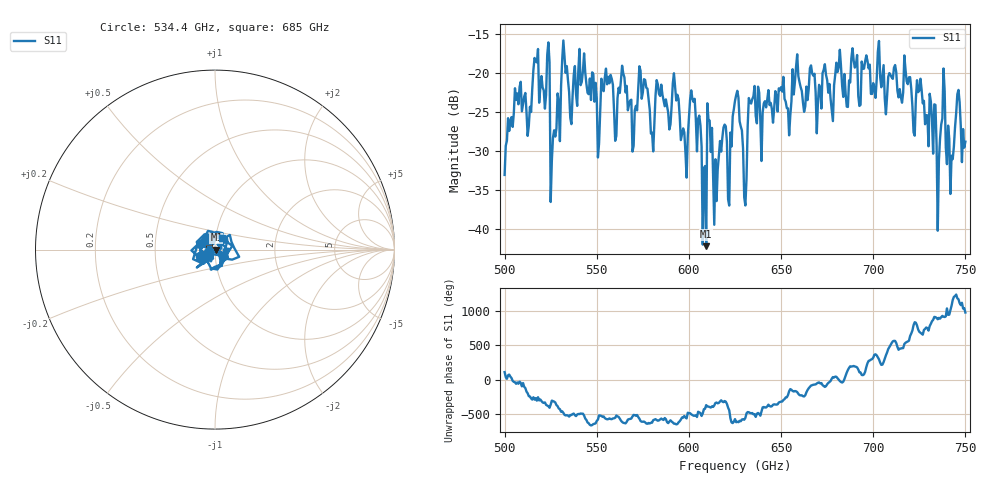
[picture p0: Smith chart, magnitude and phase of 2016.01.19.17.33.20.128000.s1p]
!Created with skrf (http://scikit-rf.org).
# GHz S RI R 50.0
!freq ReS11 ImS11
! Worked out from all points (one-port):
!   401 points, 500 GHz to 750 GHz, reference 50 ohm
!   lowest |S11| = -42.1 dB at 609.4 GHz (marker M1), VSWR 1.02, Z = 50.8 - j0.0827 ohm
!   |S11| at or under -10 dB: start of sweep to end of sweep
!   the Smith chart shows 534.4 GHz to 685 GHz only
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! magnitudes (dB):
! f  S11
! 500 GHz  -33.0
! 516.9 GHz  -18.5
! 523.1 GHz  -17.7
! 526.2 GHz  -28.3
! 531.2 GHz  -18.3
! 550.6 GHz  -30.8
! 562.5 GHz  -22.6
! 580 GHz  -27.6
! 593.8 GHz  -22.8
! 598.1 GHz  -30.2
! 602.5 GHz  -23.7
! 608.1 GHz  -32.2
! 609.4 GHz  -42.1
! 611.2 GHz  -26.1
! 614.4 GHz  -31.0
! 619.4 GHz  -26.6
! 621.9 GHz  -37.0
! 625 GHz  -23.6
! 630 GHz  -35.9
! 634.4 GHz  -23.4
! 656.2 GHz  -19.5
! 687.5 GHz  -21.2
! 718.8 GHz  -21.4
! 735.6 GHz  -31.2
! 737.5 GHz  -25.8
! 741.2 GHz  -28.4
! 745.6 GHz  -22.7
! 750 GHz  -28.8
